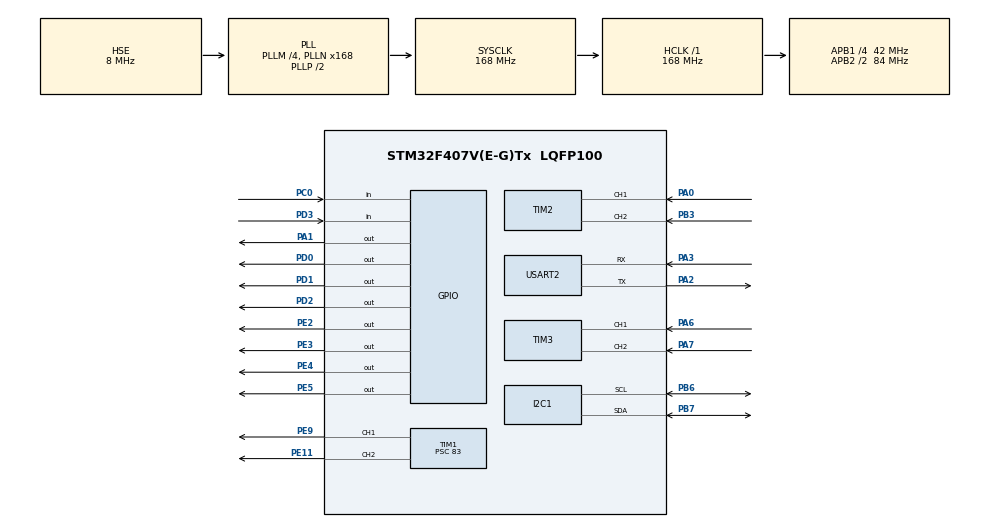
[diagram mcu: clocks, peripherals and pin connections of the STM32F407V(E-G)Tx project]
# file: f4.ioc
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I2C1.I2C_Mode=I2C_Fast
Mcu.Family=STM32F4
Mcu.Name=STM32F407V(E-G)Tx
Mcu.Package=LQFP100
NVIC.PriorityGroup=NVIC_PRIORITYGROUP_4
NVIC.TIM6_DAC_IRQn=true\:0\:0\:false\:false\:true\:true\:true\:true
PA0-WKUP.GPIO_PuPd=GPIO_PULLUP
PA0-WKUP.Signal=S_TIM2_CH1_ETR
PA1.PinState=GPIO_PIN_SET
PA1.Signal=GPIO_Output
PA13.Mode=Serial_Wire
PA13.Signal=SYS_JTMS-SWDIO
PA14.Mode=Serial_Wire
PA14.Signal=SYS_JTCK-SWCLK
PA2.Mode=Asynchronous
PA2.Signal=USART2_TX
PA3.Mode=Asynchronous
PA3.Signal=USART2_RX
PA6.GPIO_PuPd=GPIO_PULLUP
PA6.Signal=S_TIM3_CH1
PA7.GPIO_PuPd=GPIO_PULLUP
PA7.Signal=S_TIM3_CH2
PB3.GPIO_PuPd=GPIO_PULLUP
PB3.Signal=S_TIM2_CH2
PB6.Mode=I2C
PB6.Signal=I2C1_SCL
PB7.Mode=I2C
PB7.Signal=I2C1_SDA
PC0.GPIO_PuPd=GPIO_PULLUP
PC0.Signal=GPIO_Input
PD0.Signal=GPIO_Output
PD1.Signal=GPIO_Output
PD2.Signal=GPIO_Output
PD3.Signal=GPIO_Input
PE11.Signal=S_TIM1_CH2
PE2.Signal=GPIO_Output
PE3.Signal=GPIO_Output
PE4.Signal=GPIO_Output
PE5.Signal=GPIO_Output
PE9.Signal=S_TIM1_CH1
PH0-OSC_IN.Mode=HSE-External-Oscillator
PH0-OSC_IN.Signal=RCC_OSC_IN
PH1-OSC_OUT.Mode=HSE-External-Oscillator
PH1-OSC_OUT.Signal=RCC_OSC_OUT
ProjectManager.HeapSize=0x200
ProjectManager.StackSize=0x400
ProjectManager.TargetToolchain=MDK-ARM V5.32
RCC.48MHZClocksFreq_Value=84000000
RCC.AHBFreq_Value=168000000
RCC.APB1CLKDivider=RCC_HCLK_DIV4
RCC.APB1Freq_Value=42000000
RCC.APB1TimFreq_Value=84000000
RCC.APB2CLKDivider=RCC_HCLK_DIV2
RCC.APB2Freq_Value=84000000
RCC.APB2TimFreq_Value=168000000
RCC.CortexFreq_Value=168000000
RCC.HCLKFreq_Value=168000000
RCC.HSE_VALUE=8000000
RCC.HSI_VALUE=16000000
RCC.LSE_VALUE=32768
RCC.PLLM=4
RCC.PLLN=168
RCC.PLLSourceVirtual=RCC_PLLSOURCE_HSE
RCC.SYSCLKFreq_VALUE=168000000
RCC.SYSCLKSource=RCC_SYSCLKSOURCE_PLLCLK
RCC.VCOOutputFreq_Value=336000000
SH.S_TIM1_CH1.0=TIM1_CH1,PWM Generation1 CH1
SH.S_TIM1_CH2.0=TIM1_CH2,PWM Generation2 CH2
SH.S_TIM2_CH1_ETR.0=TIM2_CH1,Encoder_Interface
SH.S_TIM2_CH2.0=TIM2_CH2,Encoder_Interface
SH.S_TIM3_CH1.0=TIM3_CH1,Encoder_Interface
SH.S_TIM3_CH2.0=TIM3_CH2,Encoder_Interface
TIM1.AutoReloadPreload=TIM_AUTORELOAD_PRELOAD_ENABLE
TIM1.Channel-PWM\ Generation1\ CH1=TIM_CHANNEL_1
TIM1.Channel-PWM\ Generation2\ CH2=TIM_CHANNEL_2
TIM1.Period=99
TIM1.Prescaler=83
TIM2.EncoderMode=TIM_ENCODERMODE_TI12
TIM2.IC1Filter=10
TIM2.IC2Filter=10
TIM3.EncoderMode=TIM_ENCODERMODE_TI12
TIM3.IC1Filter=10
TIM3.IC2Filter=10
TIM6.AutoReloadPreload=TIM_AUTORELOAD_PRELOAD_ENABLE
TIM6.Period=9999
TIM6.Prescaler=83
USART2.VirtualMode=VM_ASYNC
VP_TIM1_VS_ClockSourceINT.Mode=Internal
VP_TIM6_VS_ClockSourceINT.Mode=Enable_Timer
board=custom

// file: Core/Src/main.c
/* USER CODE BEGIN Header */
/**
  ******************************************************************************
  * @file           : main.c
  * @brief          : Main program body
  ******************************************************************************
  * @attention
  *
  * Copyright (c) 2026 STMicroelectronics.
  * All rights reserved.
  *
  * This software is licensed under terms that can be found in the LICENSE file
  * in the root directory of this software component.
  * If no LICENSE file comes with this software, it is provided AS-IS.
  *
  ******************************************************************************
  */
/* USER CODE END Header */
#include "main.h"
#include "i2c.h"
#include "tim.h"
#include "usart.h"
#include "gpio.h"

/* USER CODE BEGIN Includes */
#include "Motor_base.h"
#include "Motor_advance.h"
#include "Gray.h"
#include "Trace.h"
#include "Mpu6050.h"
#include "Debug_uart.h"
/* USER CODE END Includes */

void SystemClock_Config(void);

/* USER CODE BEGIN 0 */

/* ============================ 发车按键 ============================
 * 按键2（PC2）：按下 → 陀螺仪重新校准（约 1 秒）→ 发车开始循迹
 *
 *   上电后车不动，等这个键才出发。
 *   校准放在这里而不是上电时，是因为发车前车一定已经摆好、静止。
 *
 *   想换引脚改下面两行即可（PC0 = 急停，PC1 空闲）。 */
#define START_KEY_PORT      GPIOC
#define START_KEY_PIN       GPIO_PIN_2

static void start_key_init(void)
{
    GPIO_InitTypeDef g = {0};

    __HAL_RCC_GPIOC_CLK_ENABLE();

    g.Pin  = START_KEY_PIN;
    g.Mode = GPIO_MODE_INPUT;
    g.Pull = GPIO_PULLUP;           /* 上拉：松开 = 1，按下 = 0 */
    HAL_GPIO_Init(START_KEY_PORT, &g);
}

static uint8_t start_key_down(void)
{
    return (HAL_GPIO_ReadPin(START_KEY_PORT, START_KEY_PIN) == GPIO_PIN_RESET) ? 1u : 0u;
}

/* USER CODE END 0 */

int main(void)
{

  /* MCU Configuration--------------------------------------------------------*/

  /* Reset of all peripherals, Initializes the Flash interface and the Systick. */
  HAL_Init();

  /* Configure the system clock */
  SystemClock_Config();

  /* Initialize all configured peripherals */
  MX_GPIO_Init();
  MX_TIM1_Init();
  MX_TIM2_Init();
  MX_TIM3_Init();
  MX_TIM6_Init();
  MX_USART2_UART_Init();
  MX_I2C1_Init();
 /* USER CODE BEGIN 2 */
  HAL_TIM_Base_Start_IT(&htim6);   /* TIM6 = 10ms 控制节拍 */
  Motor_Init();
  Gray_Init();
  MotorAdvance_Init();

  Mpu_Init();          /* 陀螺仪；失败也不影响循迹，盲走会退回打舵找线 */

  Trace_Init();        /* 只初始化，不发车 —— 等按键2 */

  start_key_init();    /* 发车按键 PC2 */
  Dbg_Init();          /* 串口调试输出（SerialPlot） */
  /* USER CODE END 2 */

  /* Infinite loop */
  /* USER CODE BEGIN WHILE */
  while (1)
  {
    if (g_ctrl_tick)
    {
      g_ctrl_tick = 0;

      /* ---------- 按键2：校准 + 发车 ---------- */
      {
        static uint8_t key_cnt   = 0u;   /* 连续按下的拍数 */
        static uint8_t key_armed = 1u;   /* 1 = 可以触发（松开后复位） */

        if (start_key_down() != 0u)
        {
          if (key_cnt < 10u) { key_cnt++; }
        }
        else
        {
          key_cnt   = 0u;
          key_armed = 1u;
        }

        /* 连续 3 拍（30ms）确认按下，松开才能再触发一次 */
        if ((key_cnt >= 3u) && (key_armed != 0u))
        {
          key_armed = 0u;

          MotorAdvance_Stop();
          Mpu_Calibrate();     /* 车此刻静止，正好校准零偏 */
          Trace_Start();
        }
      }

      /* 手动速度模式（串口发了数字）时不跑循迹，只跑速度环，
       * 这样可以测速度环的阶跃响应。发 "c" 恢复循迹。 */
      if (Dbg_IsManual() == 0u)
      {
        Trace_Tick();          /* 读灰度 + 陀螺仪 -> 设定目标速度 */
      }
      MotorAdvance_Tick();     /* 速度环 -> 下发 PWM */
    }

    Dbg_Task();                /* 非阻塞，每轮调一次 */

    /* USER CODE END WHILE */

  }
}

void SystemClock_Config(void)
{
  RCC_OscInitTypeDef RCC_OscInitStruct = {0};
  RCC_ClkInitTypeDef RCC_ClkInitStruct = {0};

  /** Configure the main internal regulator output voltage
  */
  __HAL_RCC_PWR_CLK_ENABLE();
  __HAL_PWR_VOLTAGESCALING_CONFIG(PWR_REGULATOR_VOLTAGE_SCALE1);

  /** Initializes the RCC Oscillators according to the specified parameters
  * in the RCC_OscInitTypeDef structure.
  */
  RCC_OscInitStruct.OscillatorType = RCC_OSCILLATORTYPE_HSE;
  RCC_OscInitStruct.HSEState = RCC_HSE_ON;
  RCC_OscInitStruct.PLL.PLLState = RCC_PLL_ON;
  RCC_OscInitStruct.PLL.PLLSource = RCC_PLLSOURCE_HSE;
  RCC_OscInitStruct.PLL.PLLM = 4;
  RCC_OscInitStruct.PLL.PLLN = 168;
  RCC_OscInitStruct.PLL.PLLP = RCC_PLLP_DIV2;
  RCC_OscInitStruct.PLL.PLLQ = 4;
  if (HAL_RCC_OscConfig(&RCC_OscInitStruct) != HAL_OK)
  {
    Error_Handler();
  }

  /** Initializes the CPU, AHB and APB buses clocks
  */
  RCC_ClkInitStruct.ClockType = RCC_CLOCKTYPE_HCLK|RCC_CLOCKTYPE_SYSCLK
                              |RCC_CLOCKTYPE_PCLK1|RCC_CLOCKTYPE_PCLK2;
  RCC_ClkInitStruct.SYSCLKSource = RCC_SYSCLKSOURCE_PLLCLK;
  RCC_ClkInitStruct.AHBCLKDivider = RCC_SYSCLK_DIV1;
  RCC_ClkInitStruct.APB1CLKDivider = RCC_HCLK_DIV4;
  RCC_ClkInitStruct.APB2CLKDivider = RCC_HCLK_DIV2;

  if (HAL_RCC_ClockConfig(&RCC_ClkInitStruct, FLASH_LATENCY_5) != HAL_OK)
  {
    Error_Handler();
  }
}

void Error_Handler(void)
{
  __disable_irq();
  while (1)
  {
  }
}
